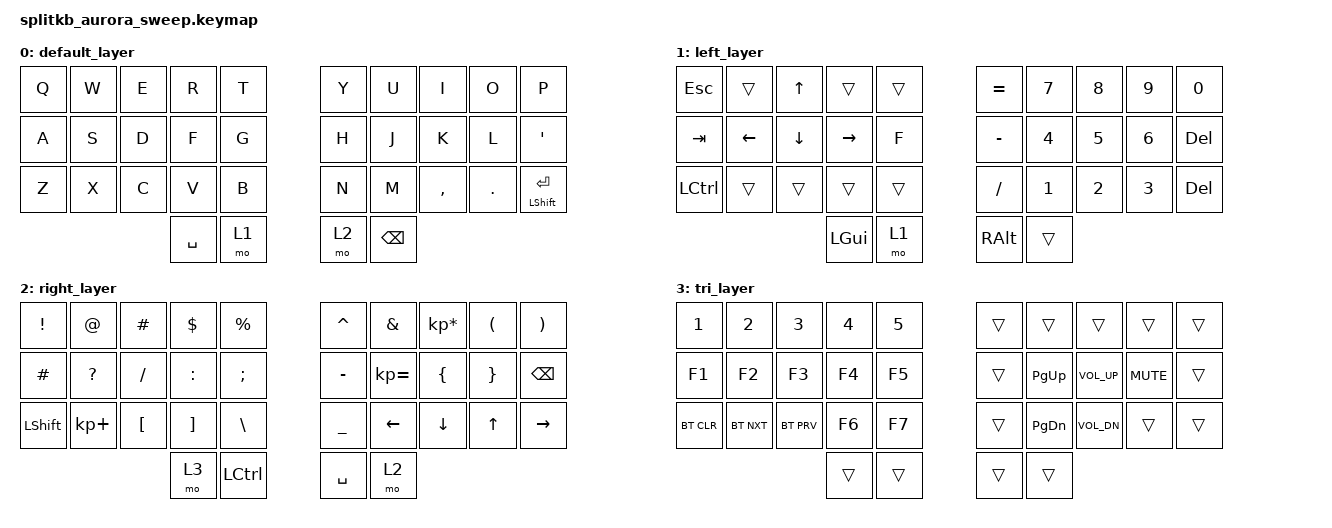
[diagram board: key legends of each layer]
/*
 * Copyright (c) 2022 The ZMK Contributors
 *
 * SPDX-License-Identifier: MIT
 */

#include <behaviors.dtsi>
#include <dt-bindings/zmk/keys.h>
#include <dt-bindings/zmk/bt.h>


&mt {
  //  flavor = "tap-preferred";
   // tapping-term-ms = <200>;
};

/ {

    combos {
        compatible = "zmk,combos";
        combo_esc {
            timeout-ms = <50>;
            key-positions = <0 1>;
            bindings = <&kp ESC>;
        };

         combo_tab {
            timeout-ms = <50>;
            key-positions = <10 11>;
            bindings = <&kp TAB>;
        };

            combo_ralt {
            timeout-ms = <50>;
            key-positions = <17 16>;
            bindings = <&kp RALT>;
        };

                    combo_lalt {
            timeout-ms = <50>;
            key-positions = <11 12>;
            bindings = <&kp LALT>;
        };

                           combo_lgui {
            timeout-ms = <50>;
            key-positions = <12 13>;
            bindings = <&kp LGUI>;
        };


       combo_rgui {
            timeout-ms = <50>;
            key-positions = <17 18>;
            bindings = <&kp RGUI>;
        };



    };

        keymap {
                compatible = "zmk,keymap";

            default_layer {
        bindings = <
        &kp Q &kp W &kp E &kp R &kp T                      &kp Y &kp U &kp I     &kp O   &kp P
        &kp A &kp S &kp D &kp F &kp G                      &kp H &kp J &kp K     &kp L   &kp SQT
        &kp Z &kp X &kp C &kp V &kp B                      &kp N &kp M &kp COMMA &kp DOT &mt LSHFT RET
                    &kp SPACE   &mo 1                      &mo 2 &kp BSPC
        >;
        };

            left_layer {
        bindings = <
        &kp ESC    &trans   &kp UP   &trans    &trans         &kp EQUAL &kp N7  &kp N8 &kp N9  &kp N0
        &kp TAB    &kp LEFT &kp DOWN &kp RIGHT &kp F          &kp MINUS &kp N4  &kp N5 &kp N6  &kp DEL
        &kp LCTRL  &trans   &trans   &trans    &trans         &kp SLASH &kp N1  &kp N2 &kp N3  &kp DEL
                                     &kp LGUI  &mo 1          &kp RALT  &trans
        >;
        };

        right_layer {
        bindings = <
        &kp EXCL  &kp AT &kp HASH  &kp DLLR  &kp PRCNT             &kp CARET  &kp AMPS &kp KP_MULTIPLY &kp LPAR &kp RPAR
        &kp HASH  &kp QMARK  &kp FSLH  &kp COLON  &kp SEMI           &kp MINUS &kp KP_EQUAL  &kp LBRC  &kp RBRC   &kp BSPC
        &kp LSHFT  &kp KP_PLUS &kp LBKT &kp RBKT   &kp BSLH             &kp UNDER &kp LEFT &kp DOWN &kp UP  &kp RIGHT
                      &mo 3 &kp LCTRL                &kp SPACE  &mo 2
        >;
        };

        tri_layer {
        bindings = <
        &kp N1  &kp N2    &kp N3    &kp N4    &kp N5             &trans &trans   &trans   &trans  &trans
        &kp F1 &kp F2 &kp F3 &kp F4 &kp F5                          &trans &kp PG_UP  &kp K_VOL_UP &kp K_MUTE &trans
        &bt BT_CLR  &bt BT_NXT &bt BT_PRV &kp F6 &kp F7                 &trans &kp PG_DN  &kp K_VOL_DN  &trans &trans
                     &trans &trans                      &trans &trans
        >;
        };

    };
};
